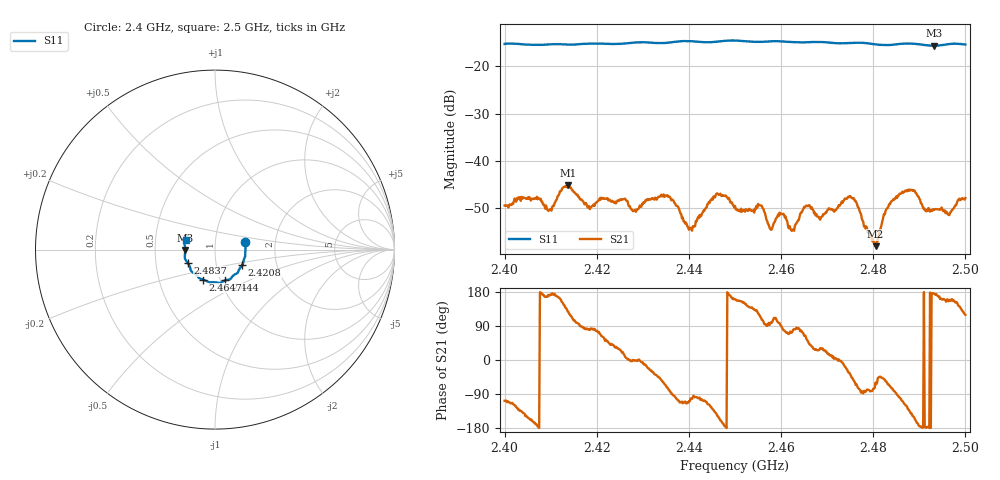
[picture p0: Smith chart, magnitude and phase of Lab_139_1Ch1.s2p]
# Hz S RI R 50
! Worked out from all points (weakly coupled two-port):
!   601 points, 2.4 GHz to 2.5 GHz, reference 50 ohm
!   highest |S21| = -45.28 dB at 2.4138 GHz (marker M1); lowest = -58.2 dB at 2.4805 GHz (marker M2)
!   lowest |S11| = -15.6 dB at 2.4932 GHz (marker M3), VSWR 1.40, Z = 35.8 - j0.0964 ohm
!   |S11| at or under -10 dB: start of sweep to end of sweep
!   S12 and S22 are empty: the file has one direction only
!   S11 on the Smith chart (normalised r, x): 2.4 GHz: 1.40, +0.12; 2.4208 GHz: 1.33, -0.24; 2.444 GHz: 1.06, -0.37; 2.4647 GHz: 0.83, -0.29; 2.4837 GHz: 0.73, -0.11; 2.5 GHz: 0.72, +0.08
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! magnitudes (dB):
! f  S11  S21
! 2.4 GHz  -15.2  -49.5
! 2.4097 GHz  -15.3  -50.4
! 2.4138 GHz  -15.4  -45.3
! 2.4167 GHz  -15.2  -48.2
! 2.4208 GHz  -15.2  -48.3
! 2.4283 GHz  -14.9  -50.5
! 2.4333 GHz  -15.1  -47.7
! 2.4402 GHz  -14.6  -54.2
! 2.444 GHz  -14.9  -49.3
! 2.4463 GHz  -14.7  -47.1
! 2.45 GHz  -14.5  -49.6
! 2.4555 GHz  -14.8  -49.5
! 2.4623 GHz  -14.8  -54.9
! 2.4647 GHz  -14.9  -50.6
! 2.4667 GHz  -14.8  -49.9
! 2.4753 GHz  -15.0  -47.9
! 2.4805 GHz  -15.3  -58.2
! 2.4833 GHz  -15.5  -49.6
! 2.4837 GHz  -15.5  -49.2
! 2.4883 GHz  -15.2  -46.3
! 2.4932 GHz  -15.6  -50.5
! 2.5 GHz  -15.3  -48.0
